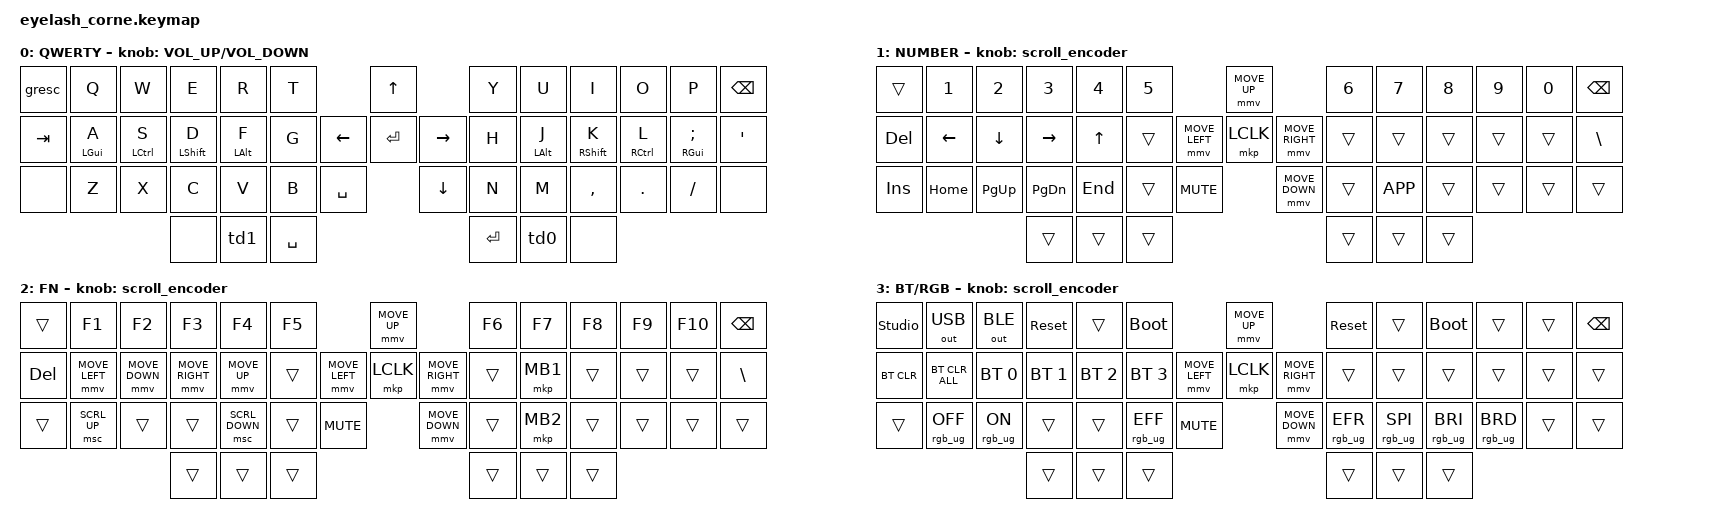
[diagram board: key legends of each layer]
#define ZMK_POINTING_DEFAULT_MOVE_VAL 1200  // 600
#define ZMK_POINTING_DEFAULT_SCRL_VAL 25   // 10

#include <input/processors.dtsi>
#include <zephyr/dt-bindings/input/input-event-codes.h>
#include <behaviors.dtsi>
#include <dt-bindings/zmk/bt.h>
#include <dt-bindings/zmk/ext_power.h>
#include <dt-bindings/zmk/keys.h>
#include <dt-bindings/zmk/outputs.h>
#include <dt-bindings/zmk/pointing.h>
#include <dt-bindings/zmk/rgb.h>

/* Layers */
#define QWERTY  0
#define RAISE   1
#define LOWER   2
#define SYS     3

/* Homerow mods */
#define KEYS_L 0 1 2 3 4 5 13 14 15 16 17 18 28 29 30 31 32 33 
#define KEYS_R 7 8 9 10 11 12 22 23 24 25 26 27 36 37 38 39 40
#define THUMBS 42 43 44 45 46 47 // Thumbs on 36+ keys.

&mmv_input_listener { input-processors = <&zip_xy_scaler 2 1>; };

&msc_input_listener { input-processors = <&zip_scroll_scaler 2 1>; };

&msc {
    acceleration-exponent = <1>;      // 0
    time-to-max-speed-ms = <100>;       // 300
    delay-ms = <0>;                   // 0
};

&mmv {
    time-to-max-speed-ms = <500>;
    acceleration-exponent = <1>;
    trigger-period-ms = <16>;
};


/ {
    behaviors {

        td0: td_tog_layer_1 {
            compatible = "zmk,behavior-tap-dance";
            #binding-cells = <0>;
            tapping-term-ms = <200>;
            bindings = <&mo RAISE>, <&tog RAISE>;
        };

        td1: td_tog_layer_2 {
            compatible = "zmk,behavior-tap-dance";
            #binding-cells = <0>;
            tapping-term-ms = <200>;
            bindings = <&mo LOWER>, <&tog LOWER>;
        };

        hml: home_row_mod_left {
            compatible = "zmk,behavior-hold-tap";
            #binding-cells = <2>;
            flavor = "balanced";
            require-prior-idle-ms = <150>;
            tapping-term-ms = <280>;
            quick-tap-ms = <175>;
            bindings = <&kp>, <&kp>;
            hold-trigger-key-positions = <KEYS_R THUMBS>;
            hold-trigger-on-release;
        };

        hmr: home_row_mod_right {
            compatible = "zmk,behavior-hold-tap";
            #binding-cells = <2>;
            flavor = "balanced";
            require-prior-idle-ms = <150>;
            tapping-term-ms = <280>;
            quick-tap-ms = <175>;
            bindings = <&kp>, <&kp>;
            hold-trigger-key-positions = <KEYS_L THUMBS>;
            hold-trigger-on-release;
        };

        gresc: grave_escape {
            compatible = "zmk,behavior-mod-morph";
            #binding-cells = <0>;
            bindings = <&kp ESC>, <&kp GRAVE>;
            mods = <(MOD_LSFT|MOD_RGUI|MOD_RSFT)>;
            keep-mods = <(MOD_RSFT)>;
        };

    };

    rgb_encoder: rgb_encoder {
        compatible = "zmk,behavior-sensor-rotate";
        #sensor-binding-cells = <0>;
        bindings = <&rgb_ug RGB_BRI>, <&rgb_ug RGB_BRD>;
    };

    scroll_encoder: scroll_encoder {
        compatible = "zmk,behavior-sensor-rotate";
        #sensor-binding-cells = <0>;
        bindings = <&msc SCRL_DOWN>, <&msc SCRL_UP>;
        tap-ms = <100>;
    };

    conditional_layers {
        compatible = "zmk,conditional-layers";
        tri_layer {
            if-layers = <RAISE LOWER>;
            then-layer = <SYS>;
        };
    };
    
    combos {
        compatible = "zmk,combos";
        combo_minus {
            timeout-ms = <50>;
            key-positions = <3 4>;
            layers = <QWERTY RAISE>;
            bindings = <&kp MINUS>;
        };

        combo_plus {
            timeout-ms = <50>;
            key-positions = <8 9>;
            layers = <QWERTY RAISE>;
            bindings = <&kp EQUAL>;
        };

        combo_left_brackets {
            timeout-ms = <50>;
            key-positions = <3 17>;
            layers = <QWERTY RAISE>;
            bindings = <&kp LBKT>;
        };

        combo_right_brackets {
            timeout-ms = <50>;
            key-positions = <9 23>;
            layers = <QWERTY RAISE>;
            bindings = <&kp RBKT>;
        };
    };

    keymap {
        compatible = "zmk,keymap";

        default_layer {
            display-name = "QWERTY";
            bindings = <

                &gresc    &kp Q       &kp W        &kp E         &kp R       &kp T                            &kp UP                &kp Y      &kp U       &kp I             &kp O          &kp P          &kp BSPC
                &kp TAB   &hml LGUI A &hml LCTRL S &hml LSHIFT D &hml LALT F &kp G                  &kp LEFT  &kp ENTER  &kp RIGHT  &kp H      &hmr LALT J &hmr RSHIFT K     &hmr RCTRL L   &hmr RGUI SEMI &kp SQT
                &none     &kp Z       &kp X        &kp C         &kp V       &kp B     &kp SPACE              &kp DOWN              &kp N      &kp M       &kp COMMA         &kp DOT        &kp FSLH       &none
                                                   &none         &td1        &kp SPACE                                              &kp ENTER  &td0        &none

            >;
            sensor-bindings = <&inc_dec_kp C_VOLUME_UP C_VOLUME_DOWN>;
        };

        raise_layer {
            display-name = "NUMBER";
            bindings = <

                &trans    &kp N1    &kp N2     &kp  N3     &kp N4   &kp N5                                    &mmv MOVE_UP                     &kp N6  &kp N7     &kp N8  &kp N9  &kp N0  &kp BSPC
                &kp DEL   &kp LEFT  &kp DOWN   &kp  RIGHT  &kp UP   &trans                    &mmv MOVE_LEFT  &mkp LCLK       &mmv MOVE_RIGHT  &trans  &trans     &trans  &trans  &trans  &kp BSLH
                &kp INS   &kp HOME  &kp PG_UP  &kp  PG_DN  &kp END  &trans  &kp C_MUTE                        &mmv MOVE_DOWN                   &trans  &kp K_APP  &trans  &trans  &trans  &trans
                                                           &trans   &trans  &trans                                                             &trans  &trans     &trans
            >;
            sensor-bindings = <&scroll_encoder>;
        };

        lower_layer {
            display-name = "FN";
            bindings = <

                &trans   &kp F1          &kp F2          &kp F3           &kp F4          &kp F5                                    &mmv MOVE_UP                     &kp F6  &kp F7    &kp F8  &kp F9  &kp F10 &kp BSPC
                &kp DEL  &mmv MOVE_LEFT  &mmv MOVE_DOWN  &mmv MOVE_RIGHT  &mmv MOVE_UP    &trans                    &mmv MOVE_LEFT  &mkp LCLK       &mmv MOVE_RIGHT  &trans  &mkp MB1  &trans  &trans  &trans  &kp BSLH
                &trans   &msc SCRL_UP    &trans          &trans           &msc SCRL_DOWN  &trans  &kp C_MUTE                        &mmv MOVE_DOWN                   &trans  &mkp MB2  &trans  &trans  &trans  &trans
                                                         &trans           &trans          &trans                                                                     &trans  &trans    &trans
            >;
            sensor-bindings = <&scroll_encoder>;
        };

        bt_rgb_layer {
            display-name = "BT/RGB";
            bindings = <
                &studio_unlock  &out OUT_USB     &out OUT_BLE    &sys_reset    &trans        &bootloader                                    &mmv MOVE_UP                     &sys_reset       &trans           &bootloader      &trans           &trans  &kp BSPC
                &bt BT_CLR      &bt BT_CLR_ALL   &bt BT_SEL 0    &bt BT_SEL 1  &bt BT_SEL 2  &bt BT_SEL 3                    &mmv MOVE_LEFT &mkp LCLK       &mmv MOVE_RIGHT  &trans           &trans           &trans           &trans           &trans  &trans
                &trans          &rgb_ug RGB_OFF  &rgb_ug RGB_ON  &trans        &trans        &rgb_ug RGB_EFF  &kp C_MUTE                    &mmv MOVE_DOWN                   &rgb_ug RGB_EFR  &rgb_ug RGB_SPI  &rgb_ug RGB_BRI  &rgb_ug RGB_BRD  &trans  &trans
                                                 &trans          &trans        &trans                                                                                        &trans           &trans           &trans
            >;
            sensor-bindings = <&scroll_encoder>;
        };
    };
};
